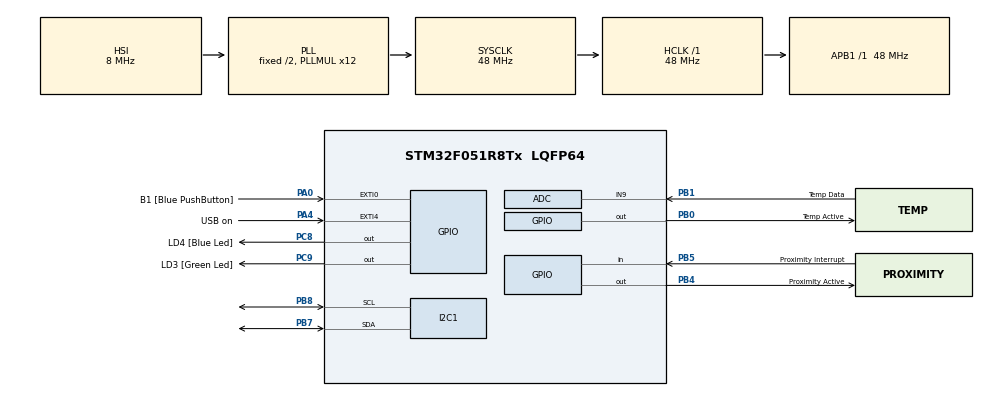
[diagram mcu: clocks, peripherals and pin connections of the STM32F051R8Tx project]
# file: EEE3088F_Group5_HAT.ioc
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Mcu.Family=STM32F0
Mcu.Name=STM32F051R8Tx
Mcu.Package=LQFP64
NVIC.EXTI4_15_IRQn=true\:1\:0\:true\:false\:true\:true\:true\:true
PA0.GPIO_Label=B1 [Blue PushButton]
PA0.GPIO_ModeDefaultEXTI=GPIO_MODE_EVT_RISING
PA0.Signal=GPXTI0
PA13.GPIO_Label=SWDIO
PA13.Mode=Serial_Wire
PA13.Signal=SYS_SWDIO
PA14.GPIO_Label=SWCLK
PA14.Mode=Serial_Wire
PA14.Signal=SYS_SWCLK
PA4.GPIO_Label=USB on
PA4.Signal=GPXTI4
PB0.GPIO_Label=Temp Active
PB0.Signal=GPIO_Output
PB1.GPIO_Label=Temp Data
PB1.Mode=IN9
PB1.Signal=ADC_IN9
PB4.GPIO_Label=Proximity Active
PB4.Signal=GPIO_Output
PB5.GPIO_Label=Proximity Interrupt
PB5.Signal=GPIO_Input
PB7.Mode=I2C
PB7.Signal=I2C1_SDA
PB8.Mode=I2C
PB8.Signal=I2C1_SCL
PC8.GPIO_Label=LD4 [Blue Led]
PC8.Signal=GPIO_Output
PC9.GPIO_Label=LD3 [Green Led]
PC9.Signal=GPIO_Output
ProjectManager.HeapSize=0x200
ProjectManager.StackSize=0x400
ProjectManager.TargetToolchain=STM32CubeIDE
RCC.AHBFreq_Value=48000000
RCC.APB1Freq_Value=48000000
RCC.APB1TimFreq_Value=48000000
RCC.HCLKFreq_Value=48000000
RCC.PLLMUL=RCC_PLL_MUL12
RCC.SYSCLKFreq_VALUE=48000000
RCC.SYSCLKSource=RCC_SYSCLKSOURCE_PLLCLK
RTC.Date=19
RTC.Hours=16
RTC.Minutes=30
RTC.Month=RTC_MONTH_MAY
RTC.Seconds=0
RTC.WeekDay=RTC_WEEKDAY_THURSDAY
RTC.Year=22
VP_RTC_VS_RTC_Activate.Mode=RTC_Enabled
VP_RTC_VS_RTC_Calendar.Mode=RTC_Calendar
board=STM32F0DISCOVERY

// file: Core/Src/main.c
/* USER CODE BEGIN Header */
/**
  ******************************************************************************
  * @file           : main.c
  * @brief          : Main program body
  ******************************************************************************
  * @attention
  *
  * Copyright (c) 2022 STMicroelectronics.
  * All rights reserved.
  *
  * This software is licensed under terms that can be found in the LICENSE file
  * in the root directory of this software component.
  * If no LICENSE file comes with this software, it is provided AS-IS.
  *
  ******************************************************************************
  */

/* USER CODE END Header */
#include "main.h"

/* USER CODE BEGIN Includes */
#include "./sensors/inc/sensors.h"
#include "EEPROM.h"
#include <stdio.h>
#include "string.h"
/* USER CODE END Includes */

ADC_HandleTypeDef hadc;

I2C_HandleTypeDef hi2c1;

RTC_HandleTypeDef hrtc;

void SystemClock_Config(void);
static void MX_GPIO_Init(void);
static void MX_I2C1_Init(void);
static void MX_RTC_Init(void);
static void MX_ADC_Init(void);
/* USER CODE BEGIN PFP */
void set_time(uint8_t hour,uint8_t minute, uint8_t second, uint8_t Month, uint8_t Date, uint8_t Year);
void get_time_to_store(uint8_t (*time)[3],uint8_t (*date)[3]);
void store_one_set(uint32_t *temp, uint32_t *proximity);
void read_all_data (uint8_t (*dataRead)[32678]);
void get_sensor_data (uint32_t *proximity,uint32_t *temp);
void Initialise(void);
/* USER CODE END PFP */

/* USER CODE BEGIN 0 */
uint8_t ID = 1;
/* USER CODE END 0 */

int main(void)
{

	Initialise();
  /* USER CODE END 2 */

  /* Infinite loop */
  /* USER CODE BEGIN WHILE */
  while (1)
  {
	  uint32_t proximity, temp;
	  uint8_t dataRead[32678];
	  get_sensor_data(&proximity, &temp);
	  store_one_set(&temp, &proximity);
	  read_all_data(&dataRead);
    /* USER CODE END WHILE */

  }
}

void SystemClock_Config(void)
{
  RCC_OscInitTypeDef RCC_OscInitStruct = {0};
  RCC_ClkInitTypeDef RCC_ClkInitStruct = {0};
  RCC_PeriphCLKInitTypeDef PeriphClkInit = {0};

  /** Initializes the RCC Oscillators according to the specified parameters
  * in the RCC_OscInitTypeDef structure.
  */
  RCC_OscInitStruct.OscillatorType = RCC_OSCILLATORTYPE_HSI|RCC_OSCILLATORTYPE_HSI14
                              |RCC_OSCILLATORTYPE_LSI;
  RCC_OscInitStruct.HSIState = RCC_HSI_ON;
  RCC_OscInitStruct.HSI14State = RCC_HSI14_ON;
  RCC_OscInitStruct.HSICalibrationValue = RCC_HSICALIBRATION_DEFAULT;
  RCC_OscInitStruct.HSI14CalibrationValue = 16;
  RCC_OscInitStruct.LSIState = RCC_LSI_ON;
  RCC_OscInitStruct.PLL.PLLState = RCC_PLL_ON;
  RCC_OscInitStruct.PLL.PLLSource = RCC_PLLSOURCE_HSI;
  RCC_OscInitStruct.PLL.PLLMUL = RCC_PLL_MUL12;
  RCC_OscInitStruct.PLL.PREDIV = RCC_PREDIV_DIV1;
  if (HAL_RCC_OscConfig(&RCC_OscInitStruct) != HAL_OK)
  {
    Error_Handler();
  }
  /** Initializes the CPU, AHB and APB buses clocks
  */
  RCC_ClkInitStruct.ClockType = RCC_CLOCKTYPE_HCLK|RCC_CLOCKTYPE_SYSCLK
                              |RCC_CLOCKTYPE_PCLK1;
  RCC_ClkInitStruct.SYSCLKSource = RCC_SYSCLKSOURCE_PLLCLK;
  RCC_ClkInitStruct.AHBCLKDivider = RCC_SYSCLK_DIV1;
  RCC_ClkInitStruct.APB1CLKDivider = RCC_HCLK_DIV1;

  if (HAL_RCC_ClockConfig(&RCC_ClkInitStruct, FLASH_LATENCY_1) != HAL_OK)
  {
    Error_Handler();
  }
  PeriphClkInit.PeriphClockSelection = RCC_PERIPHCLK_I2C1|RCC_PERIPHCLK_RTC;
  PeriphClkInit.I2c1ClockSelection = RCC_I2C1CLKSOURCE_HSI;
  PeriphClkInit.RTCClockSelection = RCC_RTCCLKSOURCE_LSI;
  if (HAL_RCCEx_PeriphCLKConfig(&PeriphClkInit) != HAL_OK)
  {
    Error_Handler();
  }
}

static void MX_ADC_Init(void)
{

  ADC_ChannelConfTypeDef sConfig = {0};

  /** Configure the global features of the ADC (Clock, Resolution, Data Alignment and number of conversion)
  */
  hadc.Instance = ADC1;
  hadc.Init.ClockPrescaler = ADC_CLOCK_ASYNC_DIV1;
  hadc.Init.Resolution = ADC_RESOLUTION_12B;
  hadc.Init.DataAlign = ADC_DATAALIGN_RIGHT;
  hadc.Init.ScanConvMode = ADC_SCAN_DIRECTION_FORWARD;
  hadc.Init.EOCSelection = ADC_EOC_SINGLE_CONV;
  hadc.Init.LowPowerAutoWait = DISABLE;
  hadc.Init.LowPowerAutoPowerOff = DISABLE;
  hadc.Init.ContinuousConvMode = DISABLE;
  hadc.Init.DiscontinuousConvMode = DISABLE;
  hadc.Init.ExternalTrigConv = ADC_SOFTWARE_START;
  hadc.Init.ExternalTrigConvEdge = ADC_EXTERNALTRIGCONVEDGE_NONE;
  hadc.Init.DMAContinuousRequests = DISABLE;
  hadc.Init.Overrun = ADC_OVR_DATA_PRESERVED;
  if (HAL_ADC_Init(&hadc) != HAL_OK)
  {
    Error_Handler();
  }
  /** Configure for the selected ADC regular channel to be converted.
  */
  sConfig.Channel = ADC_CHANNEL_9;
  sConfig.Rank = ADC_RANK_CHANNEL_NUMBER;
  sConfig.SamplingTime = ADC_SAMPLETIME_1CYCLE_5;
  if (HAL_ADC_ConfigChannel(&hadc, &sConfig) != HAL_OK)
  {
    Error_Handler();
  }

}

static void MX_I2C1_Init(void)
{

  hi2c1.Instance = I2C1;
  hi2c1.Init.Timing = 0x2000090E;
  hi2c1.Init.OwnAddress1 = 0;
  hi2c1.Init.AddressingMode = I2C_ADDRESSINGMODE_7BIT;
  hi2c1.Init.DualAddressMode = I2C_DUALADDRESS_DISABLE;
  hi2c1.Init.OwnAddress2 = 0;
  hi2c1.Init.OwnAddress2Masks = I2C_OA2_NOMASK;
  hi2c1.Init.GeneralCallMode = I2C_GENERALCALL_DISABLE;
  hi2c1.Init.NoStretchMode = I2C_NOSTRETCH_DISABLE;
  if (HAL_I2C_Init(&hi2c1) != HAL_OK)
  {
    Error_Handler();
  }
  /** Configure Analogue filter
  */
  if (HAL_I2CEx_ConfigAnalogFilter(&hi2c1, I2C_ANALOGFILTER_ENABLE) != HAL_OK)
  {
    Error_Handler();
  }
  /** Configure Digital filter
  */
  if (HAL_I2CEx_ConfigDigitalFilter(&hi2c1, 0) != HAL_OK)
  {
    Error_Handler();
  }

}

static void MX_RTC_Init(void)
{

  RTC_TimeTypeDef sTime = {0};
  RTC_DateTypeDef sDate = {0};

  /** Initialize RTC Only
  */
  hrtc.Instance = RTC;
  hrtc.Init.HourFormat = RTC_HOURFORMAT_24;
  hrtc.Init.AsynchPrediv = 127;
  hrtc.Init.SynchPrediv = 255;
  hrtc.Init.OutPut = RTC_OUTPUT_DISABLE;
  hrtc.Init.OutPutPolarity = RTC_OUTPUT_POLARITY_HIGH;
  hrtc.Init.OutPutType = RTC_OUTPUT_TYPE_OPENDRAIN;
  if (HAL_RTC_Init(&hrtc) != HAL_OK)
  {
    Error_Handler();
  }

  /** Initialize RTC and set the Time and Date
  */
  sTime.Hours = 0x16;
  sTime.Minutes = 0x30;
  sTime.Seconds = 0x0;
  sTime.DayLightSaving = RTC_DAYLIGHTSAVING_NONE;
  sTime.StoreOperation = RTC_STOREOPERATION_RESET;
  if (HAL_RTC_SetTime(&hrtc, &sTime, RTC_FORMAT_BCD) != HAL_OK)
  {
    Error_Handler();
  }
  sDate.WeekDay = RTC_WEEKDAY_THURSDAY;
  sDate.Month = RTC_MONTH_MAY;
  sDate.Date = 0x19;
  sDate.Year = 0x22;

  if (HAL_RTC_SetDate(&hrtc, &sDate, RTC_FORMAT_BCD) != HAL_OK)
  {
    Error_Handler();
  }

}

static void MX_GPIO_Init(void)
{
  GPIO_InitTypeDef GPIO_InitStruct = {0};

  /* GPIO Ports Clock Enable */
  __HAL_RCC_GPIOA_CLK_ENABLE();
  __HAL_RCC_GPIOB_CLK_ENABLE();
  __HAL_RCC_GPIOC_CLK_ENABLE();

  /*Configure GPIO pin Output Level */
  HAL_GPIO_WritePin(GPIOB, Temp_Active_Pin|Proximity_Active_Pin, GPIO_PIN_RESET);

  /*Configure GPIO pin Output Level */
  HAL_GPIO_WritePin(GPIOC, LD4_Pin|LD3_Pin, GPIO_PIN_RESET);

  /*Configure GPIO pin : B1_Pin */
  GPIO_InitStruct.Pin = B1_Pin;
  GPIO_InitStruct.Mode = GPIO_MODE_EVT_RISING;
  GPIO_InitStruct.Pull = GPIO_NOPULL;
  HAL_GPIO_Init(B1_GPIO_Port, &GPIO_InitStruct);

  /*Configure GPIO pin : USB_on_Pin */
  GPIO_InitStruct.Pin = USB_on_Pin;
  GPIO_InitStruct.Mode = GPIO_MODE_IT_RISING;
  GPIO_InitStruct.Pull = GPIO_NOPULL;
  HAL_GPIO_Init(USB_on_GPIO_Port, &GPIO_InitStruct);

  /*Configure GPIO pins : Temp_Active_Pin Proximity_Active_Pin */
  GPIO_InitStruct.Pin = Temp_Active_Pin|Proximity_Active_Pin;
  GPIO_InitStruct.Mode = GPIO_MODE_OUTPUT_PP;
  GPIO_InitStruct.Pull = GPIO_NOPULL;
  GPIO_InitStruct.Speed = GPIO_SPEED_FREQ_LOW;
  HAL_GPIO_Init(GPIOB, &GPIO_InitStruct);

  /*Configure GPIO pins : LD4_Pin LD3_Pin */
  GPIO_InitStruct.Pin = LD4_Pin|LD3_Pin;
  GPIO_InitStruct.Mode = GPIO_MODE_OUTPUT_PP;
  GPIO_InitStruct.Pull = GPIO_NOPULL;
  GPIO_InitStruct.Speed = GPIO_SPEED_FREQ_LOW;
  HAL_GPIO_Init(GPIOC, &GPIO_InitStruct);

  /*Configure GPIO pin : Proximity_Interrupt_Pin */
  GPIO_InitStruct.Pin = Proximity_Interrupt_Pin;
  GPIO_InitStruct.Mode = GPIO_MODE_INPUT;
  GPIO_InitStruct.Pull = GPIO_NOPULL;
  HAL_GPIO_Init(Proximity_Interrupt_GPIO_Port, &GPIO_InitStruct);

  /* EXTI interrupt init*/
  HAL_NVIC_SetPriority(EXTI4_15_IRQn, 1, 0);
  HAL_NVIC_EnableIRQ(EXTI4_15_IRQn);

}

/* USER CODE BEGIN 4 */
void Initialise(void)
{
	  HAL_Init();

	  SystemClock_Config();
	  MX_GPIO_Init();
	  MX_I2C1_Init();
	  MX_RTC_Init();
	  MX_ADC_Init();
	  Sensors_Start(&hadc, &hi2c1);

	  for (int i = 0; i<512;i++)
	  {
		  EEPROM_PageErase(i);
	  }
}

void get_sensor_data(uint32_t *proximity,uint32_t *temp)
{
	 struct SensorData data;
	 SensorErrorType result = Sensors_GetMeasurement(&data, 1);
	 *proximity = data.prox;
	 *temp = data.temp;

}

void read_all_data (uint8_t (*dataRead)[32678])
{
	EEPROM_Read(1, 0, *dataRead, 32768);
}

void set_time (uint8_t hour,uint8_t minute, uint8_t second, uint8_t Month, uint8_t Date, uint8_t Year)
{
  RTC_TimeTypeDef sTime;
  RTC_DateTypeDef sDate;
  sTime.Hours = hour;
	sTime.Minutes = minute;
	sTime.Seconds = second;
	sTime.DayLightSaving = RTC_DAYLIGHTSAVING_NONE;
	sTime.StoreOperation = RTC_STOREOPERATION_RESET;
	if (HAL_RTC_SetTime(&hrtc, &sTime, RTC_FORMAT_BCD) != HAL_OK)
	{
		Error_Handler();
	}
	sDate.WeekDay = RTC_WEEKDAY_FRIDAY;
	sDate.Month = Month;
	sDate.Date = Date;
	sDate.Year = Year;

	if (HAL_RTC_SetDate(&hrtc, &sDate, RTC_FORMAT_BCD) != HAL_OK)
	{
		Error_Handler();
	}
  HAL_RTCEx_BKUPWrite(&hrtc, RTC_BKP_DR1, 0x32F2); // backup register
}

void get_time_to_store(uint8_t (*time)[3],uint8_t (*date)[3])
{
	 RTC_DateTypeDef gDate;
	 RTC_TimeTypeDef gTime;
	/* Get the RTC current Time */
	 HAL_RTC_GetTime(&hrtc, &gTime, RTC_FORMAT_BIN);
	/* Get the RTC current Date */
	 HAL_RTC_GetDate(&hrtc, &gDate, RTC_FORMAT_BIN);
	/* Display time Format: hh:mm:ss */
	 *time[0] = gTime.Hours;
	 *time[1] = gTime.Minutes;
	 *time[2] = gTime.Seconds;
	/* Display date Format: dd-mm-yy */
	 *date[0] = gDate.Date;
	 *date[1] = gDate.Month;
	 *date[2] = gDate.Year;
}

void store_one_set(uint32_t *temp, uint32_t *proximity)
{
	uint8_t time[3], date[3];
	get_time_to_store(&time, &date);
	if(ID<1024)
	{
		uint8_t datas[16];
		datas[0] = ID;
		memcpy(datas + 1, &temp, sizeof(uint32_t));
		memcpy(datas + 5, &proximity, sizeof(uint32_t));
		memcpy(datas + 9, time, 3 * sizeof(uint8_t));
		memcpy(datas + 12, date, 3 * sizeof(uint8_t));
		uint8_t pages = (ID-1)/4+1;
		uint16_t sizes = 16;
		uint16_t offsets = (ID-1)%4*16;

		EEPROM_Write (pages, offsets , datas ,sizes);
		ID++;
	}
}

void HAL_GPIO_EXTI_Callback(uint16_t GPIO_Pin)
{
    if ( GPIO_Pin == USB_on_Pin)
    {
    	HAL_GPIO_WritePin(GPIOC, GPIO_PIN_8, GPIO_PIN_SET);
    }
}
/* USER CODE END 4 */

void Error_Handler(void)
{
  __disable_irq();
  while (1)
  {
  }
}
